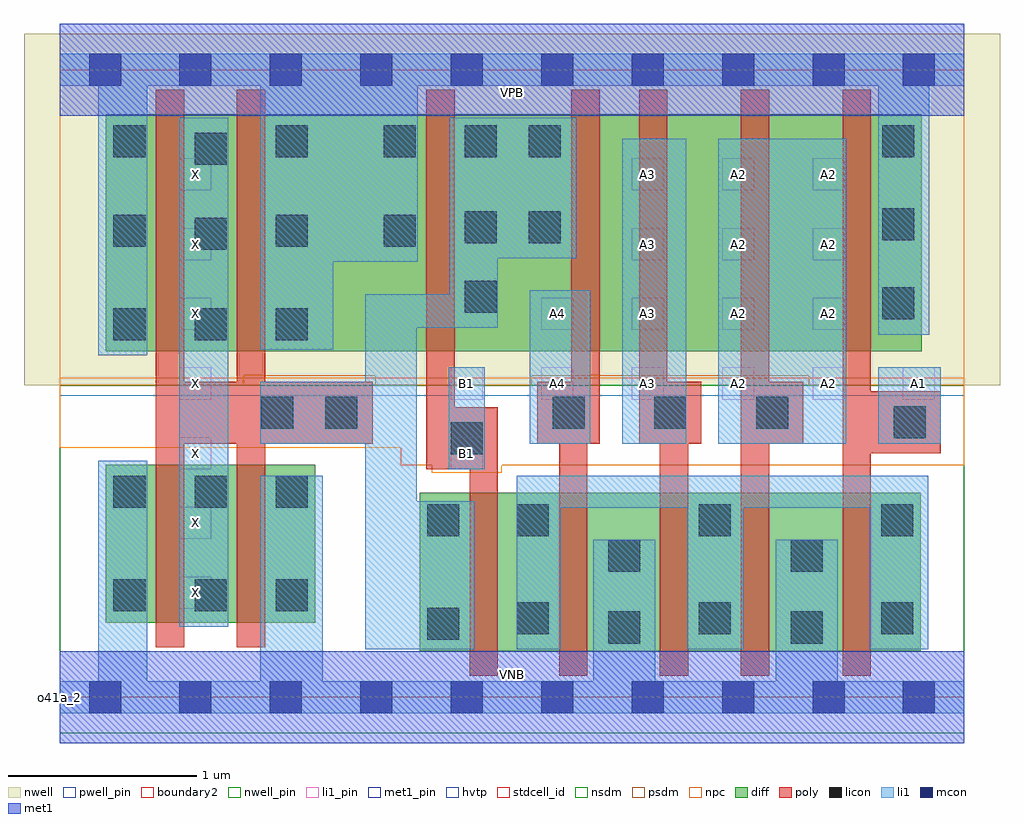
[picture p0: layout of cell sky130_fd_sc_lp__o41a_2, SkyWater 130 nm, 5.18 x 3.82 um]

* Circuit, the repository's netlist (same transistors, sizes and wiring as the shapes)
* Copyright 2020 The SkyWater PDK Authors
*
* Licensed under the Apache License, Version 2.0 (the "License");
* you may not use this file except in compliance with the License.
* You may obtain a copy of the License at
*
*     https://www.apache.org/licenses/LICENSE-2.0
*
* Unless required by applicable law or agreed to in writing, software
* distributed under the License is distributed on an "AS IS" BASIS,
* WITHOUT WARRANTIES OR CONDITIONS OF ANY KIND, either express or implied.
* See the License for the specific language governing permissions and
* limitations under the License.
*
* SPDX-License-Identifier: Apache-2.0

.SUBCKT sky130_fd_sc_lp__o41a_2 A1 A2 A3 A4 B1 VGND VNB VPB VPWR X
*.PININFO A1:I A2:I A3:I A4:I B1:I VGND:I VNB:I VPB:I VPWR:I X:O
MMPA0 VPWR A1 sndA1 VPB sky130_fd_pr__pfet_01v8_hvt m=1 w=1.26U l=0.15U mult=1
+ sa=0.265 sb=0.265 sd=0.28 area=0.063 perim=1.14
MMPA1 sndA1 A2 sndA2 VPB sky130_fd_pr__pfet_01v8_hvt m=1 w=1.26U l=0.15U mult=1
+ sa=0.265 sb=0.265 sd=0.28 area=0.063 perim=1.14
MMPA2 sndA2 A3 sndA3 VPB sky130_fd_pr__pfet_01v8_hvt m=1 w=1.26U l=0.15U mult=1
+ sa=0.265 sb=0.265 sd=0.28 area=0.063 perim=1.14
MMPA3 sndA3 A4 y VPB sky130_fd_pr__pfet_01v8_hvt m=1 w=1.26U l=0.15U mult=1 sa=0.265
+ sb=0.265 sd=0.28 area=0.063 perim=1.14
MMPB0 VPWR B1 y VPB sky130_fd_pr__pfet_01v8_hvt m=1 w=1.26U l=0.15U mult=1 sa=0.265
+ sb=0.265 sd=0.28 area=0.063 perim=1.14
MMIPX X y VPWR VPB sky130_fd_pr__pfet_01v8_hvt m=2 w=1.26U l=0.15U mult=1 sa=0.265
+ sb=0.265 sd=0.28 area=0.063 perim=1.14
MMNA0 pndA A1 VGND VNB sky130_fd_pr__nfet_01v8 m=1 w=0.84U l=0.15U mult=1 sa=0.265
+ sb=0.265 sd=0.28 area=0.063 perim=1.14
MMNA1 pndA A2 VGND VNB sky130_fd_pr__nfet_01v8 m=1 w=0.84U l=0.15U mult=1 sa=0.265
+ sb=0.265 sd=0.28 area=0.063 perim=1.14
MMNA2 pndA A3 VGND VNB sky130_fd_pr__nfet_01v8 m=1 w=0.84U l=0.15U mult=1 sa=0.265
+ sb=0.265 sd=0.28 area=0.063 perim=1.14
MMNA3 pndA A4 VGND VNB sky130_fd_pr__nfet_01v8 m=1 w=0.84U l=0.15U mult=1 sa=0.265
+ sb=0.265 sd=0.28 area=0.063 perim=1.14
MMNB0 y B1 pndA VNB sky130_fd_pr__nfet_01v8 m=1 w=0.84U l=0.15U mult=1 sa=0.265
+ sb=0.265 sd=0.28 area=0.063 perim=1.14
MMINX X y VGND VNB sky130_fd_pr__nfet_01v8 m=2 w=0.84U l=0.15U mult=1 sa=0.265
+ sb=0.265 sd=0.28 area=0.063 perim=1.14
.ENDS sky130_fd_sc_lp__o41a_2

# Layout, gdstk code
import gdstk
lib = gdstk.Library(unit=1e-6, precision=1e-09)
def R(c, l, rs):  # rectangles x0, y0, x1, y1
    for r in rs: c.add(gdstk.rectangle(r[:2], r[2:], *l))
def A(c, l, x, y, w, h, nx, ny, dx, dy):  # array of equal rectangles
    R(c, l, [(x+i*dx, y+j*dy, x+i*dx+w, y+j*dy+h) for i in range(nx) for j in range(ny)])
def P(c, l, *ps):  # polygons
    for p in ps: c.add(gdstk.Polygon(p, *l))
nwell_pin = (64, 16)
nwell = (64, 20)
diff = (65, 20)
poly = (66, 20)
licon = (66, 44)
li1_pin = (67, 16)
li1 = (67, 20)
mcon = (67, 44)
met1_pin = (68, 16)
met1 = (68, 20)
hvtp = (78, 44)
stdcell_id = (81, 4)
nsdm = (93, 44)
psdm = (94, 20)
npc = (95, 20)
pwell_pin = (122, 16)
boundary2 = (236, 0)

sky130_fd_sc_lp__o41a_2 = lib.new_cell('sky130_fd_sc_lp__o41a_2')
R(sky130_fd_sc_lp__o41a_2, nwell_pin, [(0,3.085,4.8,3.33)])
R(sky130_fd_sc_lp__o41a_2, nwell, [(-0.19,1.655,4.99,3.52)])
R(sky130_fd_sc_lp__o41a_2, diff, [(1.91,0.245,4.57,1.085), (0.245,0.395,1.355,1.235), (0.245,1.835,4.575,3.095)])
P(sky130_fd_sc_lp__o41a_2, poly, [(1.66,1.675),(1.09,1.675),(1.09,3.225),(0.94,3.225),(0.94,1.675),(0.66,1.675),(0.66,3.225),(0.51,3.225),(0.51,0.265),(0.66,0.265),(0.66,1.345),(0.94,1.345),(0.94,0.265),(1.09,0.265),(1.09,1.345),(1.66,1.345)],
  [(2.325,1.54),(2.095,1.54),(2.095,3.225),(1.945,3.225),(1.945,1.21),(2.175,1.21),(2.175,0.115),(2.325,0.115)],
  [(2.865,3.225),(2.715,3.225),(2.715,1.675),(2.535,1.675),(2.535,1.345),(2.65,1.345),(2.65,0.115),(2.8,0.115),(2.8,1.345),(2.865,1.345)],
  [(3.405,1.675),(3.225,1.675),(3.225,3.225),(3.075,3.225),(3.075,1.345),(3.185,1.345),(3.185,0.115),(3.335,0.115),(3.335,1.345),(3.405,1.345)],
  [(3.945,1.675),(3.765,1.675),(3.765,3.225),(3.615,3.225),(3.615,0.115),(3.765,0.115),(3.765,1.345),(3.945,1.345)],
  [(4.675,1.625),(4.305,1.625),(4.305,3.225),(4.155,3.225),(4.155,0.115),(4.305,0.115),(4.305,1.295),(4.675,1.295)])
A(sky130_fd_sc_lp__o41a_2, licon, 0.285, 0.455, 0.17, 0.17, 3, 2, 0.43, 0.55)
A(sky130_fd_sc_lp__o41a_2, licon, 2.615, 1.425, 0.17, 0.17, 3, 1, 0.54, 0)
A(sky130_fd_sc_lp__o41a_2, licon, 0.285, 1.895, 0.17, 0.17, 3, 1, 0.43, 0)
R(sky130_fd_sc_lp__o41a_2, licon, [(2.91,0.285,3.08,0.455), (3.88,0.285,4.05,0.455), (1.95,0.305,2.12,0.475), (2.425,0.335,2.595,0.505), (3.39,0.335,3.56,0.505), (4.36,0.335,4.53,0.505), (2.91,0.665,3.08,0.835), (3.88,0.665,4.05,0.835), (1.95,0.855,2.12,1.025), (2.425,0.855,2.595,1.025), (3.39,0.855,3.56,1.025), (4.36,0.855,4.53,1.025), (2.075,1.29,2.245,1.46), (4.425,1.375,4.595,1.545), (1.07,1.425,1.24,1.595), (1.41,1.425,1.58,1.595), (4.365,2.005,4.535,2.175), (2.15,2.04,2.32,2.21), (0.715,2.375,0.885,2.545), (0.285,2.39,0.455,2.56), (1.145,2.39,1.315,2.56), (1.72,2.39,1.89,2.56), (2.15,2.41,2.32,2.58), (2.49,2.41,2.66,2.58), (4.365,2.425,4.535,2.595), (0.715,2.825,0.885,2.995), (0.285,2.865,0.455,3.035), (1.145,2.865,1.315,3.035), (1.72,2.865,1.89,3.035), (2.15,2.865,2.32,3.035), (2.49,2.865,2.66,3.035), (4.365,2.865,4.535,3.035)])
A(sky130_fd_sc_lp__o41a_2, li1_pin, 0.635, 0.47, 0.17, 0.17, 1, 7, 0, 0.37)
A(sky130_fd_sc_lp__o41a_2, li1_pin, 2.075, 1.58, 0.17, 0.17, 6, 1, 0.48, 0)
A(sky130_fd_sc_lp__o41a_2, li1_pin, 2.555, 1.95, 0.17, 0.17, 4, 1, 0.48, 0)
A(sky130_fd_sc_lp__o41a_2, li1_pin, 3.035, 2.32, 0.17, 0.17, 3, 2, 0.48, 0.37)
R(sky130_fd_sc_lp__o41a_2, li1_pin, [(2.075,1.21,2.245,1.38)])
R(sky130_fd_sc_lp__o41a_2, li1, [(0.635,0.375,0.895,3.075), (2.065,1.21,2.255,1.75), (2.495,1.345,2.815,2.16), (2.985,1.345,3.325,2.965), (3.495,1.345,4.175,2.965), (4.345,1.345,4.675,1.75)])
P(sky130_fd_sc_lp__o41a_2, li1, [(1.065,0.085),(1.065,1.175),(1.395,1.175),(1.395,0.085),(2.83,0.085),(2.83,0.835),(3.16,0.835),(3.16,0.085),(3.8,0.085),(3.8,0.835),(4.13,0.835),(4.13,0.085),(4.8,0.085),(4.8,-0.085),(0,-0.085),(0,0.085),(0.205,0.085),(0.205,1.255),(0.465,1.255),(0.465,0.085)],
  [(2.74,3.075),(2.07,3.075),(2.07,2.14),(1.62,2.14),(1.62,1.675),(1.065,1.675),(1.065,1.345),(1.62,1.345),(1.62,0.255),(2.2,0.255),(2.2,1.04),(1.895,1.04),(1.895,1.96),(2.325,1.96),(2.325,2.33),(2.74,2.33)],
  [(4.3,1.005),(3.63,1.005),(3.63,0.255),(3.33,0.255),(3.33,1.005),(2.66,1.005),(2.66,0.255),(2.425,0.255),(2.425,1.175),(4.61,1.175),(4.61,0.255),(4.3,0.255)],
  [(4.8,3.415),(0,3.415),(0,3.245),(0.205,3.245),(0.205,1.815),(0.465,1.815),(0.465,3.245),(1.065,3.245),(1.065,1.845),(1.45,1.845),(1.45,2.31),(1.9,2.31),(1.9,3.245),(4.345,3.245),(4.345,1.925),(4.615,1.925),(4.615,3.245),(4.8,3.245)])
A(sky130_fd_sc_lp__o41a_2, mcon, 0.155, -0.085, 0.17, 0.17, 10, 2, 0.48, 3.33)
R(sky130_fd_sc_lp__o41a_2, met1_pin, [(0,0,4.8,0.245), (0,3.085,4.8,3.33)])
R(sky130_fd_sc_lp__o41a_2, met1, [(0,-0.245,4.8,0.245), (0,3.085,4.8,3.575)])
R(sky130_fd_sc_lp__o41a_2, hvtp, [(0,1.6,4.8,3.33)])
R(sky130_fd_sc_lp__o41a_2, stdcell_id, [(0,0,4.8,3.33)])
R(sky130_fd_sc_lp__o41a_2, nsdm, [(0,-0.19,4.8,1.655)])
P(sky130_fd_sc_lp__o41a_2, psdm, [(4.8,3.52),(0,3.52),(0,1.655),(0.975,1.655),(0.975,1.705),(1.675,1.705),(1.675,1.655),(2.505,1.655),(2.505,1.705),(3.975,1.705),(3.975,1.655),(4.8,1.655)])
P(sky130_fd_sc_lp__o41a_2, npc, [(4.8,1.695),(0,1.695),(0,1.325),(1.81,1.325),(1.81,1.23),(1.975,1.23),(1.975,1.19),(2.345,1.19),(2.345,1.23),(4.8,1.23)])
R(sky130_fd_sc_lp__o41a_2, pwell_pin, [(0,0,4.8,0.245)])
R(sky130_fd_sc_lp__o41a_2, boundary2, [(0,0,4.8,3.33)])
sky130_fd_sc_lp__o41a_2.add(gdstk.Label('VNB', (2.4,0.123), layer=64, texttype=59))
sky130_fd_sc_lp__o41a_2.add(gdstk.Label('VPB', (2.4,3.208), layer=64, texttype=5))
sky130_fd_sc_lp__o41a_2.add(gdstk.Label('o41a_2', (0,0), layer=83, texttype=44))
sky130_fd_sc_lp__o41a_2.add(gdstk.Label('VPWR', (2.4,3.208), layer=68, texttype=5))
sky130_fd_sc_lp__o41a_2.add(gdstk.Label('VGND', (2.4,0.123), layer=68, texttype=5))
sky130_fd_sc_lp__o41a_2.add(gdstk.Label('X', (0.72,0.555), layer=67, texttype=5))
sky130_fd_sc_lp__o41a_2.add(gdstk.Label('X', (0.72,0.925), layer=67, texttype=5))
sky130_fd_sc_lp__o41a_2.add(gdstk.Label('X', (0.72,1.295), layer=67, texttype=5))
sky130_fd_sc_lp__o41a_2.add(gdstk.Label('X', (0.72,1.665), layer=67, texttype=5))
sky130_fd_sc_lp__o41a_2.add(gdstk.Label('X', (0.72,2.035), layer=67, texttype=5))
sky130_fd_sc_lp__o41a_2.add(gdstk.Label('X', (0.72,2.405), layer=67, texttype=5))
sky130_fd_sc_lp__o41a_2.add(gdstk.Label('X', (0.72,2.775), layer=67, texttype=5))
sky130_fd_sc_lp__o41a_2.add(gdstk.Label('A1', (4.56,1.665), layer=67, texttype=5))
sky130_fd_sc_lp__o41a_2.add(gdstk.Label('A2', (3.6,1.665), layer=67, texttype=5))
sky130_fd_sc_lp__o41a_2.add(gdstk.Label('A2', (3.6,2.035), layer=67, texttype=5))
sky130_fd_sc_lp__o41a_2.add(gdstk.Label('A2', (3.6,2.405), layer=67, texttype=5))
sky130_fd_sc_lp__o41a_2.add(gdstk.Label('A2', (3.6,2.775), layer=67, texttype=5))
sky130_fd_sc_lp__o41a_2.add(gdstk.Label('A2', (4.08,1.665), layer=67, texttype=5))
sky130_fd_sc_lp__o41a_2.add(gdstk.Label('A2', (4.08,2.035), layer=67, texttype=5))
sky130_fd_sc_lp__o41a_2.add(gdstk.Label('A2', (4.08,2.405), layer=67, texttype=5))
sky130_fd_sc_lp__o41a_2.add(gdstk.Label('A2', (4.08,2.775), layer=67, texttype=5))
sky130_fd_sc_lp__o41a_2.add(gdstk.Label('A3', (3.12,1.665), layer=67, texttype=5))
sky130_fd_sc_lp__o41a_2.add(gdstk.Label('A3', (3.12,2.035), layer=67, texttype=5))
sky130_fd_sc_lp__o41a_2.add(gdstk.Label('A3', (3.12,2.405), layer=67, texttype=5))
sky130_fd_sc_lp__o41a_2.add(gdstk.Label('A3', (3.12,2.775), layer=67, texttype=5))
sky130_fd_sc_lp__o41a_2.add(gdstk.Label('A4', (2.64,1.665), layer=67, texttype=5))
sky130_fd_sc_lp__o41a_2.add(gdstk.Label('B1', (2.16,1.295), layer=67, texttype=5))
sky130_fd_sc_lp__o41a_2.add(gdstk.Label('B1', (2.16,1.665), layer=67, texttype=5))
sky130_fd_sc_lp__o41a_2.add(gdstk.Label('A4', (2.64,2.035), layer=67, texttype=5))

lib.write_gds('sky130_fd_sc_lp__o41a_2.gds')
